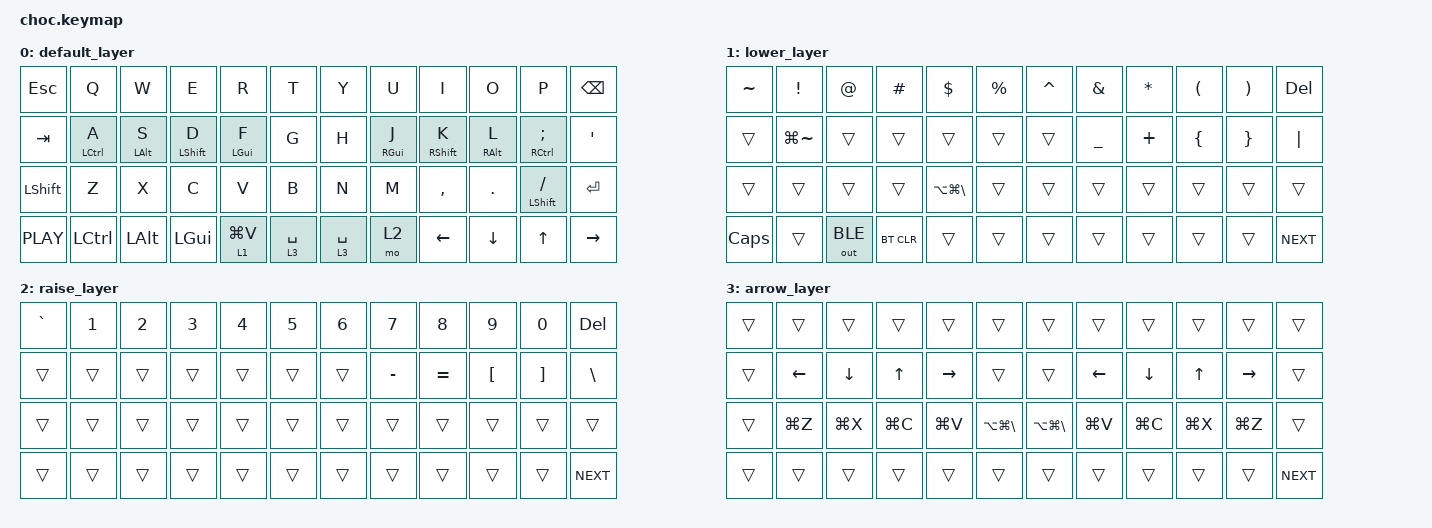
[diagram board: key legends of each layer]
/*
 * Copyright (c) 2020 The ZMK Contributors
 *
 * SPDX-License-Identifier: MIT
 */


#include <behaviors.dtsi>
#include <dt-bindings/zmk/outputs.h>
#include <dt-bindings/zmk/keys.h>
#include <dt-bindings/zmk/bt.h>


/ {
	behaviors {
        hm: homerow_mods {
            compatible = "zmk,behavior-hold-tap";
            label = "HOMEROW_MODS";
            #binding-cells = <2>;
            tapping_term_ms = <150>;
            quick_tap_ms = <0>;
            flavor = "tap-preferred";
            bindings = <&kp>, <&kp>;
        };
		sm: shift_mod {
            compatible = "zmk,behavior-hold-tap";
            label = "SHIFT_MODS";
            #binding-cells = <2>;
            tapping_term_ms = <120>;
            quick_tap_ms = <0>;
            flavor = "balanced";
            bindings = <&kp>, <&kp>;
        };
		// custom layer tap because &lt did not work very well for me
		lm: layer_mods {
			compatible = "zmk,behavior-hold-tap";
			label = "LAYER_MODS";
			#binding-cells = <2>;
			tapping_term_ms = <200>;
			quick_tap_ms = <0>;
			flavor = "hold-preferred";
			bindings = <&mo>, <&kp>;
		};
    };
	keymap {
		compatible = "zmk,keymap";

		default_layer {
// ------------------------------------------------------------------------------------------------------------
// |  TAB  |  Q  |  W  |  E   |  R   |  T   |                   |  Y   |  U    |  I    |  O   |   P   |   \   |
// |  CTRL |  A  |  S  |  D   |  F   |  G   |                   |  H   |  J    |  K    |  L   |   ;   |   '   |
// | SHIFT |  Z  |  X  |  C   |  V   |  B   |                   |  N   |  M    |  ,    |  .   |   /   | SHIFT |
// | LCTL  | LGUI  | LALT |  GRAV |  | EQL | DEL | BKSP|  | RET | SPC  | LBKT |  RBKT  | LBKT | HOME  |   END |
			bindings = <
&kp ESCAPE  &kp Q     &kp W     &kp E     &kp R     &kp T                        &kp Y     &kp U     &kp I     &kp O     &kp P     &kp BACKSPACE
&kp TAB  &hm LEFT_CONTROL A     &hm LEFT_ALT S     &sm LEFT_SHIFT D     &hm LEFT_GUI F     &kp G                        &kp H     &hm RIGHT_GUI J     &sm RIGHT_SHIFT K     &hm RIGHT_ALT L     &hm RIGHT_CONTROL SEMICOLON  &kp SINGLE_QUOTE
&kp LEFT_SHIFT &kp Z     &kp X     &kp C     &kp V     &kp B                        &kp N     &kp M     &kp COMMA  &kp PERIOD   &mt LEFT_SHIFT SLASH  &kp RETURN
&kp C_PLAY &kp LEFT_CONTROL &kp LEFT_ALT &kp LEFT_GUI  &lm 1 LG(V)    &lt 3 SPACE                      &lt 3 SPACE   &mo 2     &kp LEFT_ARROW  &kp DOWN_ARROW  &kp UP_ARROW  &kp RIGHT_ARROW
			>;
		};
		lower_layer {
			bindings = <
&kp TILDE   &kp EXCLAMATION     &kp AT     &kp HASH     &kp DOLLAR     &kp PERCENT          &kp CARET  &kp AMPERSAND  &kp ASTERISK  &kp LEFT_PARENTHESIS  &kp RIGHT_PARENTHESIS  &kp DELETE
&trans    &kp LG(TILDE)    &trans    &trans    &trans    &trans                                    &trans    &kp UNDERSCORE &kp PLUS  &kp LEFT_BRACE  &kp RIGHT_BRACE  &kp PIPE
&trans    &trans    &trans    &trans    &kp LA(LG(BACKSLASH))    &trans                                    &trans   &trans   &trans    &trans    &trans    &trans
&kp CAPSLOCK    &trans    &out OUT_BLE    &bt BT_CLR  &trans  &trans                                    &trans   &trans   &trans    &trans    &trans    &kp C_NEXT    
			>;
		};

		raise_layer {
			bindings = <
&kp GRAVE &kp NUMBER_1 &kp NUMBER_2 &kp NUMBER_3 &kp NUMBER_4 &kp NUMBER_5                  &kp NUMBER_6 &kp NUMBER_7 &kp NUMBER_8 &kp NUMBER_9 &kp NUMBER_0 &kp DELETE
&trans   &trans   &trans    &trans    &trans    &trans                      &trans    &kp MINUS &kp EQUAL   &kp LEFT_BRACKET  &kp RIGHT_BRACKET  &kp BACKSLASH
&trans   &trans   &trans    &trans    &trans    &trans       			    &trans    &trans   &trans    &trans    &trans    &trans
&trans   &trans   &trans    &trans    &trans    &trans                      &trans    &trans   &trans    &trans    &trans    &kp C_NEXT
			>;
		};

		arrow_layer {
			bindings = <
&trans   &trans   &trans    &trans    &trans    &trans       			    &trans    &trans   &trans    &trans    &trans    &trans
&trans   &kp LEFT_ARROW  &kp DOWN_ARROW  &kp UP_ARROW  &kp RIGHT_ARROW    &trans                      &trans    &kp LEFT_ARROW  &kp DOWN_ARROW  &kp UP_ARROW  &kp RIGHT_ARROW  &trans
&trans   &kp LG(Z)   &kp LG(X)    &kp LG(C)    &kp LG(V)    &kp LA(LG(BACKSLASH))      &kp LA(LG(BACKSLASH))    &kp LG(V)  &kp LG(C)   &kp LG(X)   &kp LG(Z)    &trans
&trans   &trans   &trans    &trans    &trans    &trans                      &trans    &trans   &trans    &trans    &trans    &kp C_NEXT
			>;
		};
	};
};
